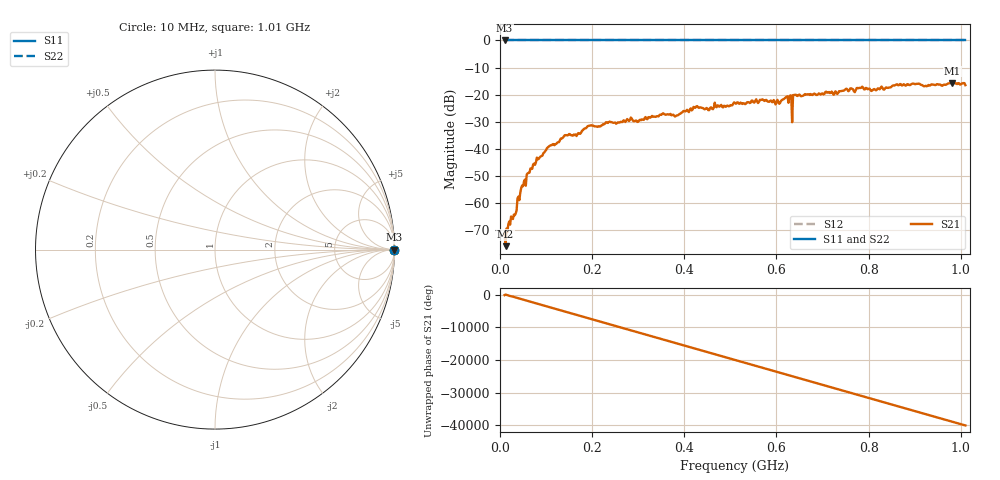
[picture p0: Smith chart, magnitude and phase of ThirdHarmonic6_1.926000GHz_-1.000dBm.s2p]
! 8/16/2025 11:13:15 PM
! C:\ANRITSUVNA\TEMP\TEMP.S2P
! CHANNEL.1
! TR.MEASUREMENT
! RAW.DATA
! RF.CORRECTION.OFF
! AVERAGING.OFF
! IF.BANDWIDTH: 5KHZ
! SWEEPTYPE:  FREQ.SWEEP(Linear)
! Reference Plane Port Info
! PORT:  PORT1  PORT2
! DISTANCE:  0  m  0  m
! TIME:  0  s  0  s
! PHASE.OFFSET:  0  deg.  0  deg.
! LOSS:  0  dB  0  dB
! REF.LOSS:  0  dB  0  dB
! REF.FREQ:  0  Hz  0  Hz
! Power Info
! POWER:  -20  dBm  -20  dBm
! EFF.POWER:  -20  dBm  -20  dBm
! SOURCE.ATTEN:  0  dB  0  dB
! TEST.ATTEN:  0  dB  0  dB
# GHZ S RI R 50.0
! FREQ.GHZ  S11RE  S11IM  S21RE  S21IM  S12RE  S12IM  S22RE  S22IM
!; PortSelection: Port_12
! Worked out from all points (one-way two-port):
!   501 points, 10 MHz to 1.01 GHz, reference 50 ohm
!   highest |S21| = -15.69 dB at 982 MHz (marker M1); lowest = -76.0 dB at 12 MHz (marker M2)
!   lowest |S11| = 0.0 dB at 10 MHz (marker M3)
!   |S11| at or under -10 dB: nowhere
!   |S22| runs from 0.0 to 0.0 dB; largest |S21 - S12| = 1.2
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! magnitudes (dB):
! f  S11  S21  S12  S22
! 10 MHz  0.0  -71.1  0.0  0.0
! 12 MHz  0.0  -76.0  0.0  0.0
! 22 MHz  0.0  -68.0  0.0  0.0
! 32 MHz  0.0  -64.6  0.0  0.0
! 50 MHz  0.0  -53.9  0.0  0.0
! 76 MHz  0.0  -45.9  0.0  0.0
! 106 MHz  0.0  -39.2  0.0  0.0
! 140 MHz  0.0  -35.1  0.0  0.0
! 178 MHz  0.0  -33.4  0.0  0.0
! 194 MHz  0.0  -31.5  0.0  0.0
! 344 MHz  0.0  -28.1  0.0  0.0
! 382 MHz  0.0  -27.9  0.0  0.0
! 510 MHz  0.0  -23.1  0.0  0.0
! 602 MHz  0.0  -21.9  0.0  0.0
! 628 MHz  0.0  -20.7  0.0  0.0
! 630 MHz  0.0  -20.3  0.0  0.0
! 638 MHz  0.0  -20.2  0.0  0.0
! 640 MHz  0.0  -20.1  0.0  0.0
! 678 MHz  0.0  -20.2  0.0  0.0
! 844 MHz  0.0  -17.4  0.0  0.0
! 982 MHz  0.0  -15.7  0.0  0.0
! 1.01 GHz  0.0  -16.5  0.0  0.0
